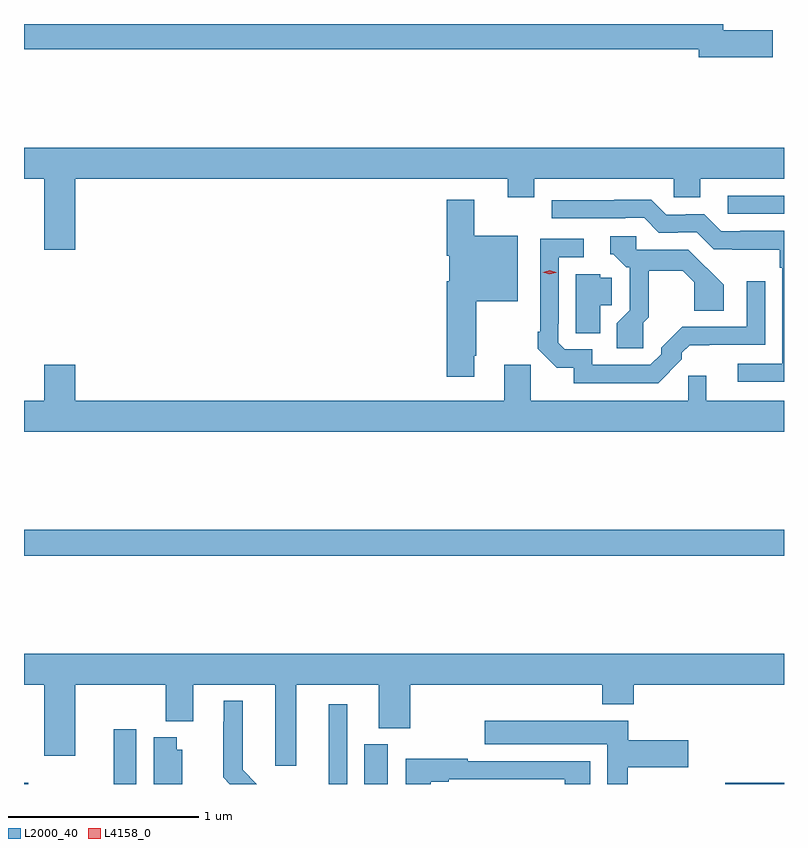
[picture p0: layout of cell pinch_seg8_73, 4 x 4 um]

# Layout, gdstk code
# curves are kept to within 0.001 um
import gdstk
lib = gdstk.Library(unit=1e-6, precision=1e-09)
def R(c, l, rs):  # rectangles x0, y0, x1, y1
    for r in rs: c.add(gdstk.rectangle(r[:2], r[2:], *l))
def P(c, l, *ps):  # polygons
    for p in ps: c.add(gdstk.Polygon(p, *l))
L2000_40 = (2000, 40)
L4158_0 = (4158, 0)

pinch_seg8_73 = lib.new_cell('pinch_seg8_73')
R(pinch_seg8_73, L2000_40, [(896.169,1086.674,896.192,1086.68), (896.642,1086.674,896.761,1086.961), (897.773,1086.674,897.87,1087.093), (897.959,1086.674,898.084,1086.882), (899.861,1086.674,900.169,1086.68), (896.169,1087.876,900.169,1088.012), (899.874,1089.675,900.169,1089.771)])
P(pinch_seg8_73, L2000_40, [(900.109,1090.64),(899.848,1090.64),(899.848,1090.674),(896.169,1090.674),(896.169,1090.54),(899.72,1090.54),(899.72,1090.498),(900.109,1090.498)],
  [(896.44,1089.86),(898.715,1089.86),(898.715,1089.761),(898.855,1089.761),(898.855,1089.86),(899.589,1089.86),(899.589,1089.762),(899.728,1089.762),(899.728,1089.86),(900.169,1089.86),(900.169,1090.024),(896.169,1090.024),(896.169,1089.86),(896.276,1089.86),(896.276,1089.486),(896.44,1089.486)],
  [(898.54,1088.929),(898.548,1088.929),(898.548,1089.215),(898.768,1089.215),(898.768,1089.559),(898.54,1089.559),(898.54,1089.748),(898.394,1089.748),(898.394,1089.455),(898.406,1089.455),(898.406,1089.319),(898.394,1089.319),(898.394,1088.817),(898.54,1088.817)],
  [(900.169,1089.585),(899.938,1089.585),(899.938,1089.582),(899.838,1089.582),(899.748,1089.672),(899.651,1089.672),(899.651,1089.669),(899.55,1089.669),(899.471,1089.748),(898.947,1089.747),(898.947,1089.651),(899.333,1089.651),(899.333,1089.654),(899.433,1089.654),(899.511,1089.576),(899.609,1089.576),(899.609,1089.579),(899.709,1089.579),(899.799,1089.489),(899.896,1089.489),(899.896,1089.486),(900.147,1089.486),(900.147,1089.392),(900.159,1089.392),(900.159,1088.886),(899.925,1088.886),(899.925,1088.79),(900.169,1088.79)],
  [(899.427,1089.101),(899.456,1089.13),(899.456,1089.375),(899.635,1089.375),(899.697,1089.314),(899.697,1089.166),(899.851,1089.166),(899.851,1089.302),(899.665,1089.486),(899.391,1089.486),(899.391,1089.558),(899.255,1089.558),(899.255,1089.462),(899.271,1089.462),(899.34,1089.393),(899.358,1089.393),(899.358,1089.168),(899.288,1089.098),(899.288,1088.967),(899.427,1088.967)],
  [(899.632,1088.909),(899.632,1088.944),(899.672,1088.984),(900.069,1088.985),(900.069,1089.319),(899.973,1089.319),(899.973,1089.081),(899.633,1089.081),(899.523,1088.971),(899.523,1088.937),(899.466,1088.88),(899.16,1088.88),(899.16,1088.961),(899.016,1088.961),(898.98,1088.997),(898.98,1089.097),(898.983,1089.097),(898.983,1089.447),(899.116,1089.447),(899.116,1089.543),(898.887,1089.543),(898.887,1089.055),(898.872,1089.055),(898.872,1088.964),(898.972,1088.865),(899.062,1088.865),(899.062,1088.784),(899.506,1088.784)],
  [(899.203,1089.194),(899.262,1089.194),(899.262,1089.339),(899.202,1089.339),(899.202,1089.358),(899.073,1089.358),(899.073,1089.046),(899.203,1089.046)],
  [(900.169,1088.692),(899.761,1088.692),(899.761,1088.822),(899.665,1088.822),(899.665,1088.692),(898.835,1088.692),(898.835,1088.88),(898.697,1088.88),(898.697,1088.692),(896.44,1088.692),(896.44,1088.881),(896.276,1088.881),(896.276,1088.692),(896.169,1088.692),(896.169,1088.528),(900.169,1088.528)],
  [(897.601,1087.196),(898.037,1087.196),(898.037,1086.967),(898.201,1086.967),(898.201,1087.196),(899.213,1087.196),(899.213,1087.094),(899.378,1087.094),(899.378,1087.196),(900.169,1087.196),(900.169,1087.36),(896.169,1087.36),(896.169,1087.196),(896.276,1087.196),(896.276,1086.822),(896.44,1086.822),(896.44,1087.196),(896.914,1087.196),(896.914,1087.004),(897.061,1087.004),(897.061,1087.196),(897.491,1087.196),(897.491,1086.771),(897.601,1086.771)],
  [(897.319,1086.748),(897.319,1087.111),(897.221,1087.111),(897.221,1087.001),(897.217,1087.001),(897.217,1086.71),(897.253,1086.674),(897.393,1086.674)],
  [(899.347,1086.761),(899.665,1086.761),(899.665,1086.903),(899.35,1086.903),(899.35,1087.006),(898.593,1087.006),(898.593,1086.884),(899.238,1086.884),(899.238,1086.674),(899.347,1086.674)],
  [(897.001,1086.855),(896.974,1086.855),(896.974,1086.919),(896.852,1086.919),(896.852,1086.674),(897.001,1086.674)],
  [(898.309,1086.687),(898.405,1086.687),(898.405,1086.699),(899.015,1086.699),(899.015,1086.674),(899.149,1086.674),(899.149,1086.795),(898.505,1086.795),(898.505,1086.808),(898.178,1086.808),(898.178,1086.674),(898.309,1086.674)])
P(pinch_seg8_73, L4158_0, [(898.934,1089.357),(898.899,1089.367),(898.898,1089.368),(898.899,1089.368),(898.935,1089.377),(898.97,1089.367),(898.971,1089.366),(898.97,1089.366)])

lib.write_gds('pinch_seg8_73.gds')
